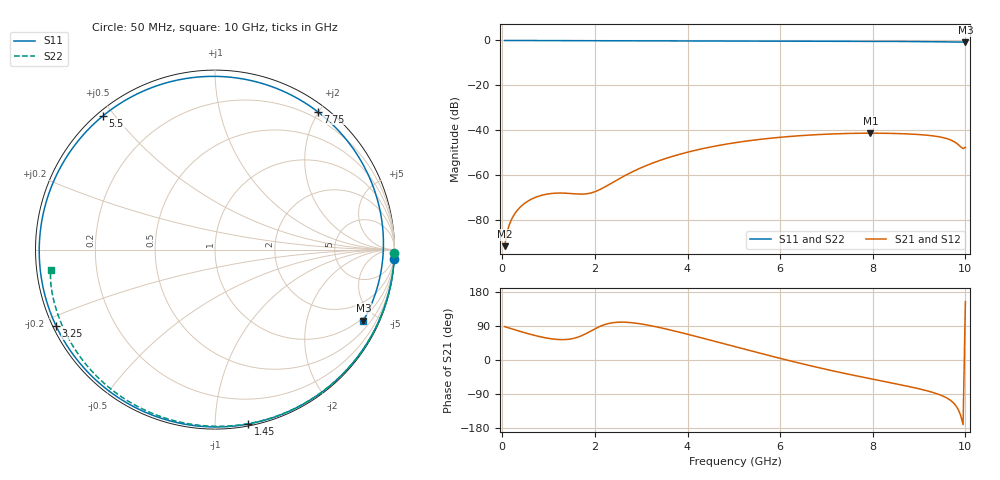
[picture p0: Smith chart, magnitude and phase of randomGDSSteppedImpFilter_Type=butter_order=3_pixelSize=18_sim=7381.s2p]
! freq	dB(S11)	phase(S11)	dB(S12)	phase(S12)
!  dB(S21)	phase(S21)	dB(S22)	phase(S22)
!S-par simulation data
#  GHz  S  DB  R 50
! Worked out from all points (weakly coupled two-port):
!   200 points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, 50 MHz to 10 GHz, reference 50 ohm
!   highest |S21| = -41.29 dB at 7.95 GHz (marker M1); lowest = -91.6 dB at 50 MHz (marker M2)
!   lowest |S11| = -0.8 dB at 10 GHz (marker M3), VSWR 23.00, Z = 42.9 - j212 ohm
!   |S11| at or under -10 dB: nowhere
!   |S22| runs from -0.7 to 0.0 dB; largest |S21 - S12| = 0
!   S11 on the Smith chart (normalised r, x): 50 MHz: 0, -39; 1.45 GHz: 0.01, -1.21; 3.25 GHz: 0.01, -0.23; 5.5 GHz: 0.02, +0.47; 7.75 GHz: 0.11, +1.99; 10 GHz: 0.86, -4.25
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0.05  -0.00 -2.9  -91.60 88.1  -91.60 88.1  -0.00 -1.0
0.2  -0.02 -11.6  -79.66 82.4  -79.66 82.4  -0.01 -3.9
0.4  -0.03 -23.1  -73.96 74.9  -73.96 74.9  -0.01 -7.8
0.7  -0.05 -40.0  -69.99 64.8  -69.99 64.8  -0.02 -13.6
1.1  -0.07 -61.5  -68.07 55.3  -68.07 55.3  -0.03 -21.3
1.45  -0.09 -79.2  -68.12 55.0  -68.12 55.0  -0.04 -28.0
1.75  -0.11 -93.5  -68.39 66.2  -68.39 66.2  -0.04 -33.7
2.05  -0.12 -107.0  -66.94 85.4  -66.94 85.4  -0.05 -39.3
2.5  -0.13 -125.9  -61.85 99.7  -61.85 99.7  -0.06 -47.6
3.25  -0.16 -154.4  -54.57 89.5  -54.57 89.5  -0.08 -61.1
3.4  -0.16 -159.8  -53.44 85.6  -53.44 85.6  -0.08 -63.8
4.2  -0.19 172.7  -48.76 61.7  -48.76 61.7  -0.11 -77.6
5.05  -0.23 144.7  -45.46 34.5  -45.46 34.5  -0.14 -91.8
5.5  -0.25 129.9  -44.20 20.0  -44.20 20.0  -0.16 -99.1
6.1  -0.28 110.0  -42.94 1.3  -42.94 1.3  -0.19 -108.7
6.7  -0.31 89.8  -42.05 -16.5  -42.05 -16.5  -0.23 -118.2
7.75  -0.37 53.4  -41.31 -44.4  -41.31 -44.4  -0.31 -134.5
7.95  -0.39 46.3  -41.29 -49.4  -41.29 -49.4  -0.33 -137.6
8.35  -0.43 32.2  -41.37 -59.2  -41.37 -59.2  -0.37 -143.9
8.9  -0.49 12.8  -41.78 -73.2  -41.78 -73.2  -0.43 -152.7
9.45  -0.60 -6.5  -42.97 -91.9  -42.97 -91.9  -0.51 -162.0
10  -0.76 -25.5  -47.59 154.1  -47.59 154.1  -0.70 -172.8
